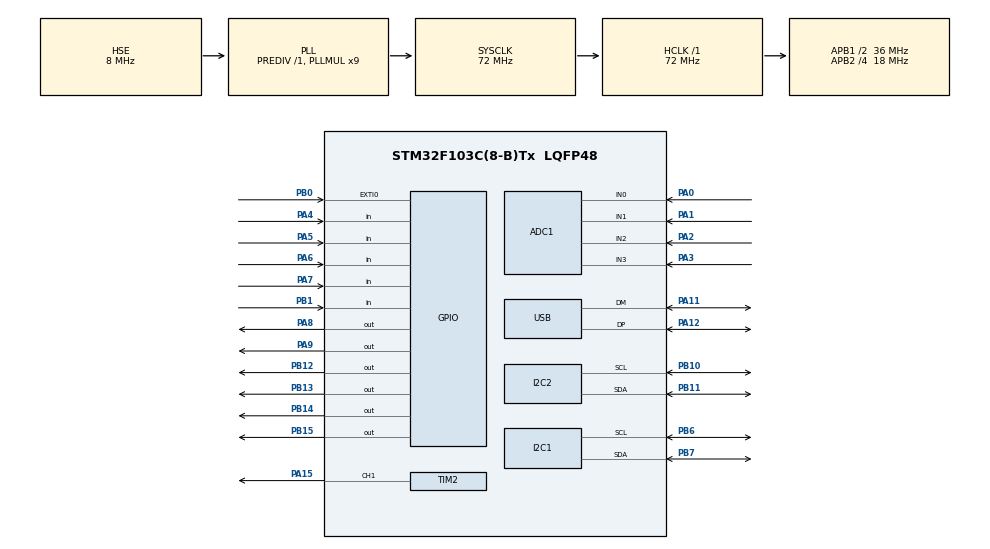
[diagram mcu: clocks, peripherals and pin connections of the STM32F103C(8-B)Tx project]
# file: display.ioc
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ADC1.Channel-0\#ChannelRegularConversion=ADC_CHANNEL_0
ADC1.Channel-1\#ChannelRegularConversion=ADC_CHANNEL_1
ADC1.Channel-2\#ChannelRegularConversion=ADC_CHANNEL_2
ADC1.Channel-3\#ChannelRegularConversion=ADC_CHANNEL_3
ADC1.ContinuousConvMode=ENABLE
ADC1.NbrOfConversion=4
ADC1.NbrOfConversionFlag=1
ADC1.Rank-0\#ChannelRegularConversion=1
ADC1.Rank-1\#ChannelRegularConversion=2
ADC1.Rank-2\#ChannelRegularConversion=3
ADC1.Rank-3\#ChannelRegularConversion=4
ADC1.SamplingTime-0\#ChannelRegularConversion=ADC_SAMPLETIME_239CYCLES_5
ADC1.SamplingTime-1\#ChannelRegularConversion=ADC_SAMPLETIME_239CYCLES_5
ADC1.SamplingTime-2\#ChannelRegularConversion=ADC_SAMPLETIME_239CYCLES_5
ADC1.SamplingTime-3\#ChannelRegularConversion=ADC_SAMPLETIME_239CYCLES_5
ADC1.master=1
Dma.ADC1.0.Direction=DMA_PERIPH_TO_MEMORY
Dma.ADC1.0.Instance=DMA1_Channel1
Dma.ADC1.0.MemDataAlignment=DMA_MDATAALIGN_WORD
Dma.ADC1.0.MemInc=DMA_MINC_ENABLE
Dma.ADC1.0.Mode=DMA_CIRCULAR
Dma.ADC1.0.PeriphDataAlignment=DMA_PDATAALIGN_WORD
Dma.ADC1.0.PeriphInc=DMA_PINC_DISABLE
Dma.ADC1.0.Priority=DMA_PRIORITY_LOW
Dma.Request0=ADC1
I2C1.I2C_Mode=I2C_Fast
Mcu.Family=STM32F1
Mcu.Name=STM32F103C(8-B)Tx
Mcu.Package=LQFP48
NVIC.DMA1_Channel1_IRQn=true\:0\:0\:false\:false\:true\:false\:true
NVIC.EXTI0_IRQn=true\:1\:0\:true\:false\:true\:true\:true
NVIC.I2C1_ER_IRQn=true\:0\:0\:false\:false\:true\:true\:true
NVIC.I2C2_ER_IRQn=true\:0\:0\:false\:false\:true\:true\:true
NVIC.PriorityGroup=NVIC_PRIORITYGROUP_4
NVIC.USB_LP_CAN1_RX0_IRQn=true\:0\:0\:false\:false\:true\:false\:true
PA0-WKUP.Signal=ADCx_IN0
PA1.Signal=ADCx_IN1
PA11.Mode=Device
PA11.Signal=USB_DM
PA12.Mode=Device
PA12.Signal=USB_DP
PA15.Signal=S_TIM2_CH1_ETR
PA2.Signal=ADCx_IN2
PA3.Signal=ADCx_IN3
PA4.GPIO_PuPd=GPIO_PULLUP
PA4.Signal=GPIO_Input
PA5.GPIO_PuPd=GPIO_PULLUP
PA5.Signal=GPIO_Input
PA6.GPIO_PuPd=GPIO_PULLUP
PA6.Signal=GPIO_Input
PA7.GPIO_PuPd=GPIO_PULLUP
PA7.Signal=GPIO_Input
PA8.Signal=GPIO_Output
PA9.Signal=GPIO_Output
PB0.GPIO_ModeDefaultEXTI=GPIO_MODE_IT_FALLING
PB0.GPIO_PuPd=GPIO_PULLUP
PB0.Signal=GPXTI0
PB1.GPIO_PuPd=GPIO_PULLUP
PB1.Signal=GPIO_Input
PB10.Mode=I2C
PB10.Signal=I2C2_SCL
PB11.Mode=I2C
PB11.Signal=I2C2_SDA
PB12.Signal=GPIO_Output
PB13.Signal=GPIO_Output
PB14.Signal=GPIO_Output
PB15.Signal=GPIO_Output
PB6.Mode=I2C
PB6.Signal=I2C1_SCL
PB7.Mode=I2C
PB7.Signal=I2C1_SDA
PD0-OSC_IN.Mode=HSE-External-Oscillator
PD0-OSC_IN.Signal=RCC_OSC_IN
PD1-OSC_OUT.Mode=HSE-External-Oscillator
PD1-OSC_OUT.Signal=RCC_OSC_OUT
ProjectManager.HeapSize=0x200
ProjectManager.StackSize=0x400
ProjectManager.TargetToolchain=STM32CubeIDE
RCC.ADCPresc=RCC_ADCPCLK2_DIV8
RCC.AHBFreq_Value=72000000
RCC.APB1CLKDivider=RCC_HCLK_DIV2
RCC.APB1Freq_Value=36000000
RCC.APB1TimFreq_Value=72000000
RCC.APB2CLKDivider=RCC_HCLK_DIV4
RCC.APB2Freq_Value=18000000
RCC.APB2TimFreq_Value=36000000
RCC.HCLKFreq_Value=72000000
RCC.PLLMUL=RCC_PLL_MUL9
RCC.PLLSourceVirtual=RCC_PLLSOURCE_HSE
RCC.SYSCLKFreq_VALUE=72000000
RCC.SYSCLKSource=RCC_SYSCLKSOURCE_PLLCLK
RCC.USBFreq_Value=48000000
RCC.USBPrescaler=RCC_USBCLKSOURCE_PLL_DIV1_5
SH.ADCx_IN0.0=ADC1_IN0,IN0
SH.ADCx_IN1.0=ADC1_IN1,IN1
SH.ADCx_IN2.0=ADC1_IN2,IN2
SH.ADCx_IN3.0=ADC1_IN3,IN3
SH.S_TIM2_CH1_ETR.0=TIM2_CH1,PWM Generation1 CH1
TIM2.Channel-PWM\ Generation1\ CH1=TIM_CHANNEL_1
TIM2.Period=255
USB_DEVICE.APP_RX_DATA_SIZE=1000
USB_DEVICE.APP_TX_DATA_SIZE=1000
USB_DEVICE.CLASS_NAME_FS=CDC
USB_DEVICE.VirtualMode=Cdc
USB_DEVICE.VirtualModeFS=Cdc_FS
VP_SYS_VS_ND.Mode=No_Debug
VP_USB_DEVICE_VS_USB_DEVICE_CDC_FS.Mode=CDC_FS
board=custom

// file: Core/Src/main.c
/* USER CODE BEGIN Header */
/**
  ******************************************************************************
  * @file           : main.c
  * @brief          : Main program body
  ******************************************************************************
  * @attention
  *
  * Copyright (c) 2021 STMicroelectronics.
  * All rights reserved.
  *
  * This software is licensed under terms that can be found in the LICENSE file
  * in the root directory of this software component.
  * If no LICENSE file comes with this software, it is provided AS-IS.
  *
  ******************************************************************************
  */
/* USER CODE END Header */
#include "main.h"
#include "usb_device.h"

/* USER CODE BEGIN Includes */
#include "ssd1306.h"
#include "fonts.h"
#include <math.h>
#include <string.h>
/* USER CODE END Includes */

ADC_HandleTypeDef hadc1;
DMA_HandleTypeDef hdma_adc1;

I2C_HandleTypeDef hi2c1;
I2C_HandleTypeDef hi2c2;

TIM_HandleTypeDef htim2;

void SystemClock_Config(void);
static void MX_GPIO_Init(void);
static void MX_I2C1_Init(void);
static void MX_I2C2_Init(void);
static void MX_DMA_Init(void);
static void MX_ADC1_Init(void);
static void MX_TIM2_Init(void);

/* USER CODE BEGIN 0 */

float Uzobrazene = 0;
float Izobrazene = 0;
float Mzobrazene = 0;
float teplota = 0;
uint8_t dataDAC [3] = {0x40, 0x0, 0x0};
uint32_t ADCout [4];
float SMAU0 [50];							//SIMPLE MOVING AVERAGE U0
float SMAU1 [50];							//SIMPLE MOVING AVERAGE U1
float SMAU2 [50];							//SIMPLE MOVING AVERAGE U2
uint8_t SMAy = 0;							//SIMPLE MOVING AVERAGE index
uint16_t setmodeflag = 0; 					//mód zobrazení

//polling
uint8_t tlacitko [4];
uint8_t poslednistav [4];
uint8_t debounce [5];

//menu 1
uint8_t cursor = 0;
uint8_t menupage = 0;
float setvoltage = 0;
float setcurrent = 0;
uint8_t pointer_p1 = 0x01;

//USB
uint8_t message[22] = "$0000|0000|C|000|00|E";				//odesílaná zpráva
uint16_t len = sizeof(message)/sizeof(message[0]);			//délka odesílané zprávy
uint8_t buffer_usb[12];										//buffer přijaté zprávy
uint8_t receive;											//příznak přijetí nové zprávy

//servisní veličiny
float Uadc = 3.3;		//vstupní napětí ADC
float offset = 0.0;		//offset ADC
float napetiBUCK[16] = {0, 0, 0.79, 2.40, 3.52, 5.10, 5.90, 8.50, 8.80, 11.30, 12.20, 14.37, 14.97, 16.63, 17.40, 18.71};	//převodní tabulka výstupních napětí BUCK reguátoru
uint8_t dataBUCK[16] = {0, 1, 2, 4, 3, 5, 6, 7, 8, 9, 10, 12, 11, 13, 14, 15};

//chlazení
uint16_t ventilatorper = 0;  //výkon ventilátoru v %
uint8_t ventilatorhyst = 0;	//hystereze ventilatoru
//startovní sekvence
void start()
{
	SSD1306_Clear();
	SSD1306_GotoXY (25,25);
	SSD1306_Puts("zdrojOS", &Font_11x18, 1);
	SSD1306_UpdateScreen();
	HAL_Delay(1000);
	HAL_GPIO_WritePin(GPIOA, GPIO_PIN_8, 0);
	HAL_GPIO_WritePin(GPIOA, GPIO_PIN_9, 1);
}

//USB
uint8_t loopcount = 0;		//loopcount pro odeslání každých 256 cyklů
extern uint8_t CDC_Transmit_FS(uint8_t* Buf, uint16_t Len);	//odkaz na funkci odeslání z "usbd_cdc_if.c"

//funkce rozložení přijatého rámce do globálních proměnných
void read_ser()
{
	char u_char[5];	//string napětí
	for(int i = 0; i<4; i++){
		u_char[i] = buffer_usb[i+1];
	}
	u_char[4] = '\0';
	setvoltage = atoi(u_char);	//převod na číslo
	setvoltage = setvoltage/100;	//vložení do globální proměnné

	char i_char[5]; //string proudu
	for(int i = 0; i<4; i++){
		i_char[i] = buffer_usb[i+6];
	}
	i_char[4] = '\0';
	setcurrent = atoi(i_char);	//převod na číslo
	setcurrent = setcurrent/100;	//vložení do globální proměnné

}

//vytvoření rámce
void create_mess(float v, float c, uint8_t cvcc, uint8_t err, float teplota, uint16_t vent)
{
	//převod float napětí
	v = v*100;
	char vs[5];
	itoa((uint16_t)v, vs, 10);
	if(v<10){
		message[1] = '0';
		message[2] = '0';
		message[3] = '0';
		message[4] = vs[0];
	}else if(v<100){
		for(int i = 0; i<2; i++){
			message[i+3] = vs[i];
		}
		message[2] = '0';
		message[1] = '0';
	}else if(v<1000){
		for(int i = 0; i<3; i++){
			message[i+2] = vs[i];
		}
		message[1] = '0';
	}else{
	for(int i = 1; i<5; i++){
		message[i] = vs[i-1];
	}}

	//převod float proudu
	c = c*100;
	char cs[5];
	itoa((uint16_t)c, cs, 10);
	if(c<10){
		message[6] = '0';
		message[7] = '0';
		message[8] = '0';
		message[9] = cs[0];
	}else if(c<100){
		for(int i = 0; i<2; i++){
			message[i+8] = cs[i];
		}
		message[7] = '0';
		message[6] = '0';
	}else if(c<1000){
		for(int i = 0; i<3; i++){
			message[i+7] = cs[i];
		}
		message[6] = '0';
	}else{
	for(int i = 0; i<4; i++){
		message[i+6] = cs[i];
	}}
	//převod CVCC režimu
	if(cvcc ==1){
		message[11] = 'V';
	}else{
		message[11] = 'C';
	}
	//převod float teploty
	teplota = 1000*teplota;
	char teplotas[4];
	itoa((uint16_t)teplota, teplotas, 10);
	if(teplota>100){
		message[13]=teplotas[0];
		message[14]=teplotas[1];
		message[15]=teplotas[2];
	}else if(teplota>10){
		message[13]='0';
		message[14]=teplotas[0];
		message[15]=teplotas[1];
	}else {
		message[13]='0';
		message[14]='0';
		message[15]=teplotas[0];
	}
	//pokud jede vent na 100% odešle hodnotu 99% (kvůli formátu)
	if(vent == 100)
	{
		message[17] = '9';
		message[18] = '9';
	}else{
		char vents[3];
		itoa(vent, vents, 10);
		if(vent<10){
			message[17] = '0';
			message[18] = vents[0];
		}else{
		message[17] = vents[0];
		message[18] = vents[1];}
	}
	//errror mess 99==no error
	if(err == 99){
		message[20] = 'E';
	}else{
		message[20] = err + '0';
	}
}

//funkce error handleru
/*po zachycení chyby dojde k odpojení výstupního napětí a odeslání rámce s kódem chyby
 ta je zároveň vypsána na display zařízení a zařízení vyčkává na stisknutí potvzení na tlačítku na zařízení*/
void error(uint8_t event)
{
	HAL_GPIO_WritePin(GPIOA, GPIO_PIN_8, 0);
	HAL_GPIO_WritePin(GPIOA, GPIO_PIN_9, 0);
	SSD1306_Clear();
	SSD1306_GotoXY (3,3);
	SSD1306_Puts("error:", &Font_11x18, 1);
	SSD1306_GotoXY (3,25);
	create_mess(Uzobrazene, Izobrazene, Mzobrazene,event, teplota, ventilatorper);
	int pokusy = 0;
	while((CDC_Transmit_FS(message, len) != USBD_OK)&&(pokusy<100)){
		  pokusy++;
	}
	switch (event) {
		case 0:
			SSD1306_Puts("mereni tep.", &Font_11x18, 1);
			SSD1306_GotoXY (3,45);
			SSD1306_Puts("OK=>reset", &Font_11x18, 1);
			SSD1306_UpdateScreen();
			while(HAL_GPIO_ReadPin(GPIOA, GPIO_PIN_4) != 0)
			{
				HAL_Delay(1);
			}
			start();
			break;
		case 1:
			SSD1306_Puts("prehrati", &Font_11x18, 1);
			SSD1306_GotoXY (3,45);
			SSD1306_Puts("OK=>reset", &Font_11x18, 1);
			SSD1306_UpdateScreen();
			while(HAL_GPIO_ReadPin(GPIOA, GPIO_PIN_4) != 0)
			{
				HAL_Delay(1);
			}
			start();
			break;
		case 2:
			SSD1306_Puts("chyba U0", &Font_11x18, 1);
			SSD1306_GotoXY (3,45);
			SSD1306_Puts("OK=>reset", &Font_11x18, 1);
			SSD1306_UpdateScreen();
			while(HAL_GPIO_ReadPin(GPIOA, GPIO_PIN_4) != 0)
			{
				HAL_Delay(1);
			}
			start();
			break;
		case 3:
			SSD1306_Puts("chyba U1", &Font_11x18, 1);
			SSD1306_GotoXY (3,45);
			SSD1306_Puts("OK=>reset", &Font_11x18, 1);
			SSD1306_UpdateScreen();
			while(HAL_GPIO_ReadPin(GPIOA, GPIO_PIN_4) != 0)
			{
				HAL_Delay(1);
			}
			start();
			break;
		case 4:
			SSD1306_Puts("chyba U3", &Font_11x18, 1);
			SSD1306_GotoXY (3,45);
			SSD1306_Puts("OK=>reset", &Font_11x18, 1);
			SSD1306_UpdateScreen();
			while(HAL_GPIO_ReadPin(GPIOA, GPIO_PIN_4) != 0)
			{
				HAL_Delay(1);
			}
			start();
			break;
		default:
			break;

	}
}
//vstupy

void readbuttons()	//pulling tlačítek
{
	if(debounce[0] == 0)
	{
	  tlacitko[0] = HAL_GPIO_ReadPin(GPIOA, GPIO_PIN_4);
	  if(tlacitko[0] != poslednistav[0])
	  {
		  poslednistav[0] = tlacitko[0];
		  if(tlacitko[0] == 0)
		  {
			setmodeflag = 500;
			debounce[0] = 10;
			if(cursor == 0)
			{
				  cursor = 0x04;
			}else{
			  if(cursor>0x08)
			  {
				  cursor = 0;
				  setmodeflag = 10;
			  }
			  if((cursor>0)&&(cursor<0x10))
			  {
				  cursor = (cursor<<4);
			  }
			}
		 }
	  }
	}
	if(debounce[1] == 0)
	{
	  tlacitko[1] = HAL_GPIO_ReadPin(GPIOA, GPIO_PIN_5);
	  if(tlacitko[1] != poslednistav[1])
	  {
		  poslednistav[1] = tlacitko[1];
		  if(tlacitko[1] == 0)
		  {
			  setmodeflag = 500;
			  debounce[1] = 10;
				if(cursor == 0)
				{
					  cursor = 0x04;
				}
				else
				{
					switch (cursor) {
						case 0x80:
							cursor = 0x10;
							break;
						case 0x08:
							cursor = 0x01;
							break;
						default:
							cursor *= 2;
							break;
					}
				}
		  }
	  }
	}
	if(debounce[2] == 0)
	{
	  tlacitko[2] = HAL_GPIO_ReadPin(GPIOA, GPIO_PIN_6);
	  if(tlacitko[2] != poslednistav[2])
	  {
		  poslednistav[2] = tlacitko[2];
		  if(tlacitko[2] == 0)
		  {
			setmodeflag = 500;
			debounce[2] = 10;
			if(cursor == 0)
			{
				  cursor = 0x04;
			}
			else
			{
				switch (cursor) {
					case 0x01:
						cursor = 0x08;
						break;
					case 0x10:
						cursor = 0x80;
						break;
					default:
						cursor = cursor>>1;
						break;
				}

			}
		  }
	  }
	}
	if(debounce[3] == 0)
	{
	  tlacitko[3] = HAL_GPIO_ReadPin(GPIOA, GPIO_PIN_7);
	  if(tlacitko[3] != poslednistav[3])
	  {
		  poslednistav[3] = tlacitko[3];
		  if(tlacitko[3] == 0)
		  {
			  if((setmodeflag > 0)||(menupage>0))
			  {
				  menupage++;
			  }
			  setmodeflag = 500;
			  debounce[3] = 10;
			  if(menupage>2)
			  {
				  menupage = 0;
				  setmodeflag = 10;
			  }
		  }
	  }
	}

}

//pomocné převodní funkce

char* trimm(float f)
{
	static char trimmed [4];

	f *= 100;
	uint16_t g = f;
	itoa(g, trimmed, 10);

	if(g<10)
	{
		trimmed[3] = trimmed[0];
		trimmed[2] = '0';
		trimmed[1] = '0';
		trimmed[0] = ' ';

	}
	if((g<100)&&(g>9))
	{
		trimmed[3] = trimmed[1];
		trimmed[2] = trimmed[0];
		trimmed[1] = '0';
		trimmed[0] = ' ';

	}
	if((g<1000)&&(g>99))
	{
		for(uint8_t i = 3; i>0; i--)
		{
			trimmed[i] = trimmed[i-1];
		}
		trimmed[0] = ' ';

	}

	return trimmed;
}
float ADCtoVoltage(uint16_t ADCvalue)
{
	float voltage = 0;
	if(ADCvalue >= 161)
	{
		voltage = (ADCvalue/1226.9938)+0.0693;
	}
	else
	{
		voltage = ADCvalue;
		voltage = voltage/365;
	}
	return voltage;
}
float Voltagetoteperatur(float napeti)
{
	  napeti = (Uadc/ napeti)-1;
	 napeti = 1/(((log(napeti))/3380)+(1/298.5));
	  napeti = napeti - 273.15; // K => C
	  return napeti;
}

//funkce vykreslování displaje

void drawlogoC (uint8_t x, uint8_t y){
	  SSD1306_DrawLine((5+x), (y+5), (5+x), (y+11), 1);
	  SSD1306_DrawLine((6+x), (y+3), (6+x), (y+13), 1);
	  SSD1306_DrawLine((7+x), (y+3), (7+x), (y+5), 1);
	  SSD1306_DrawLine((7+x), (y+11), (7+x), (y+13), 1);
	  SSD1306_DrawLine((8+x), (y+14), (10+x), (y+14), 1);
	  SSD1306_DrawLine((8+x), (y+13), (10+x), (y+13), 1);
	  SSD1306_DrawLine((8+x), (y+2), (10+x), (y+2), 1);
	  SSD1306_DrawLine((8+x), (y+3), (10+x), (y+3), 1);
	  SSD1306_DrawLine((11+x), (y+3), (11+x), (y+4), 1);
	  SSD1306_DrawLine((11+x), (y+13), (11+x), (y+12), 1);
	  SSD1306_DrawLine((12+x), (y+4), (12+x), (y+6), 1);
	  SSD1306_DrawLine((12+x), (y+12), (12+x), (y+10), 1);
}
void drawmenu1(uint8_t cursorm1, uint8_t cvcc, float x, float y)
{
	  SSD1306_Clear();
	  cursorm1 = ~cursorm1;
	  char* mecha = trimm(y);
	  SSD1306_GotoXY (26,3);
	  SSD1306_Putc (mecha[0], &Font_11x18, ((cursorm1 & 0x08)>>3));
	  SSD1306_GotoXY (37,3);
	  SSD1306_Putc (mecha[1], &Font_11x18, ((cursorm1 & 0x04)>>2));
	  SSD1306_GotoXY (48,3);
	  SSD1306_Putc(',', &Font_11x18, 1);
	  SSD1306_GotoXY (59,3);
	  SSD1306_Putc (mecha[2], &Font_11x18, ((cursorm1 & 0x02)>>1));
	  SSD1306_GotoXY (70,3);
	  SSD1306_Putc (mecha[3], &Font_11x18, (cursorm1 & 0x01));
	  SSD1306_GotoXY (107,3);
	  SSD1306_Putc('V', &Font_11x18, 1);
	  char* proud = trimm(x);
	  SSD1306_GotoXY (26,25);
	  SSD1306_Putc (proud[0], &Font_11x18, ((cursorm1 & 0x80)>>7));
	  SSD1306_GotoXY (37,25);
	  SSD1306_Putc (proud[1], &Font_11x18, ((cursorm1 & 0x40)>>6));
	  SSD1306_GotoXY (48,25);
	  SSD1306_Putc(',', &Font_11x18, 1);
	  SSD1306_GotoXY (59,25);
	  SSD1306_Putc (proud[2], &Font_11x18, ((cursorm1 & 0x20)>>5));
	  SSD1306_GotoXY (70,25);
	  SSD1306_Putc (proud[3], &Font_11x18, ((cursorm1 & 0x10)>>4));
	  SSD1306_GotoXY (107,25);
	  SSD1306_Putc('A', &Font_11x18, 1);
	  uint8_t xcvcc = 0;
	  uint8_t ycvcc = 0;
	  switch (cvcc) {
		case 1:
			  xcvcc = 81;
			  ycvcc = 45;
			  drawlogoC(92, ycvcc);
			  SSD1306_DrawLine((5+xcvcc), (ycvcc+2), (5+xcvcc), (ycvcc+6), 1);
			  SSD1306_DrawLine((13+xcvcc), (ycvcc+2), (13+xcvcc), (ycvcc+6), 1);
			  SSD1306_DrawLine((6+xcvcc), (ycvcc+2), (6+xcvcc), (ycvcc+11), 1);
			  SSD1306_DrawLine((12+xcvcc), (ycvcc+2), (12+xcvcc), (ycvcc+11), 1);
			  SSD1306_DrawLine((7+xcvcc), (ycvcc+6), (7+xcvcc), (ycvcc+13), 1);
			  SSD1306_DrawLine((11+xcvcc), (ycvcc+6), (11+xcvcc), (ycvcc+13), 1);
			  SSD1306_DrawLine((8+xcvcc), (ycvcc+11), (8+xcvcc), (ycvcc+14), 1);
			  SSD1306_DrawLine((10+xcvcc), (ycvcc+11), (10+xcvcc), (ycvcc+14), 1);
			  SSD1306_DrawPixel((9+xcvcc), (ycvcc+13), 1);
			  SSD1306_DrawPixel((9+xcvcc), (ycvcc+14), 1);
			break;
		case 2:
			  xcvcc = 20;
			  ycvcc = 45;
			  drawlogoC(xcvcc, ycvcc);
			  drawlogoC((xcvcc+10), ycvcc);
			break;
		default:
			break;
	}
	  if (cvcc) {
		  	  SSD1306_DrawLine((2+xcvcc), ycvcc , (25+xcvcc), ycvcc, 1);
		  	  SSD1306_DrawLine(xcvcc, (ycvcc+2), xcvcc, (ycvcc+15), 1);
		  	  SSD1306_DrawLine((2+xcvcc), (ycvcc+17), (25+xcvcc), (ycvcc+17), 1);
		  	  SSD1306_DrawLine((27+xcvcc), (ycvcc+2), (27+xcvcc), (ycvcc+15), 1);
		  	  SSD1306_DrawPixel((1+xcvcc), (ycvcc+1), 1);
		  	  SSD1306_DrawPixel((1+xcvcc), (ycvcc+16), 1);
		  	  SSD1306_DrawPixel((26+xcvcc), (ycvcc+1), 1);
		  	  SSD1306_DrawPixel((26+xcvcc), (ycvcc+16), 1);
	  }
	  SSD1306_UpdateScreen(); // update screen
}
void drawmenu2()
{
	uint16_t pz = 0;
	uint16_t temp = teplota;
	char pzc [3];
	char tempc [3];
	char ventc [3];
	itoa(temp, tempc, 10);
	itoa(ventilatorper, ventc, 10);
	pz = Uzobrazene* Izobrazene;
	itoa(pz, pzc, 10);
	SSD1306_Clear();
	SSD1306_GotoXY (10,3);
	SSD1306_Puts("Pz =", &Font_11x18, 1);
	SSD1306_GotoXY (65,3);
	SSD1306_Puts(pzc, &Font_11x18, 1);
	SSD1306_GotoXY (107,3);
	SSD1306_Putc('W', &Font_11x18, 1);
	SSD1306_GotoXY (10,25);
	SSD1306_Puts("tep=", &Font_11x18, 1);
	SSD1306_GotoXY (65,25);
	SSD1306_Puts(tempc, &Font_11x18, 1);
	SSD1306_GotoXY (107,25);
	SSD1306_Putc('C', &Font_11x18, 1);
	SSD1306_GotoXY (10,43);
	SSD1306_Puts("vent=", &Font_11x18, 1);
	SSD1306_GotoXY (65, 43);
	SSD1306_Puts(ventc, &Font_11x18, 1);
	SSD1306_GotoXY (107,43);
	SSD1306_Putc('%', &Font_11x18, 1);
	SSD1306_UpdateScreen(); // update screen

}
void drawmenu3()
{
	char U0c [3];
	char U1c [3];
	char U2c [3];
	itoa(ADCout[0], U0c, 10);
	itoa(ADCout[1], U1c, 10);
	itoa(ADCout[2], U2c, 10);
	SSD1306_Clear();
	SSD1306_GotoXY (10,3);
	SSD1306_Puts("U0 =", &Font_11x18, 1);
	SSD1306_GotoXY (65,3);
	SSD1306_Puts(U0c, &Font_11x18, 1);
	SSD1306_GotoXY (10,25);
	SSD1306_Puts("U1=", &Font_11x18, 1);
	SSD1306_GotoXY (65,25);
	SSD1306_Puts(U1c, &Font_11x18, 1);
	SSD1306_GotoXY (10,43);
	SSD1306_Puts("U2=", &Font_11x18, 1);
	SSD1306_GotoXY (65, 43);
	SSD1306_Puts(U2c, &Font_11x18, 1);
	SSD1306_UpdateScreen(); // update screen

}

// výstupní elektrické veličiny

void ventilator(float temp)  //nastavení úrovně PWM ventilátoru
{
	// kontrola správnosti
	if((teplota > 100)||(teplota < 1))
	{
		error(0);
	}
	if(teplota > 70)
	{
		error(1);
	}

	//hystereze
	if(temp > 30)
	{
		ventilatorhyst = 1;
	}
	if(temp < 28)
	{
		ventilatorhyst = 0;
	}
	//výpočet v %
	if(ventilatorhyst == 1)
	{
		ventilatorper = ((temp - 25) * 2) + 50;
		if(ventilatorper > 100)
		{
			ventilatorper = 100;
		}
	}else
	{
		ventilatorper = 0;
	}
	//nastavení časovače v 8-bit
	TIM2->CCR1 = (ventilatorper*255)/100;
}
void setDAC1 (uint16_t data) // zapíše vpravo zarovnaná 12-bit data do DAC1 na I2C2
{
	dataDAC [1] = (data >> 4);
	dataDAC [2] = (data << 4) & 0xf0;
	HAL_I2C_Master_Transmit(&hi2c1, (0b1100001<<1), dataDAC, 3, 10);
}
void setDAC2 (uint16_t data) // zapíše vpravo zarovnaná 12-bit data do DAC1 na I2C2
{
	dataDAC [1] = (data >> 4);
	dataDAC [2] = (data << 4) & 0xf0;
	HAL_I2C_Master_Transmit(&hi2c2, (0b1100001<<1), dataDAC, 3, 10);
}
void setVout (float napeti)	 //řízení spínaného napěťového regulátoru  + příprava pro ADC
{
	uint16_t output;
	uint8_t i = 1;
	if(napeti>18.71)
	{
		HAL_GPIO_WritePin(GPIOA, GPIO_PIN_8, 1);
		HAL_GPIO_WritePin(GPIOA, GPIO_PIN_9, 0);
	}else{
		HAL_GPIO_WritePin(GPIOA, GPIO_PIN_8, 0);
		HAL_GPIO_WritePin(GPIOA, GPIO_PIN_9, 1);
		while(napetiBUCK[i]<napeti)
		{
			i++;
		}
		HAL_GPIO_WritePin(GPIOB, GPIO_PIN_12, (1&&(dataBUCK[i] & 0x08)));
		HAL_GPIO_WritePin(GPIOB, GPIO_PIN_13, (1&&(dataBUCK[i] & 0x04)));
		HAL_GPIO_WritePin(GPIOB, GPIO_PIN_14, (dataBUCK[i] & 0x02));
		HAL_GPIO_WritePin(GPIOB, GPIO_PIN_15, (dataBUCK[i] & 0x01));
	}
	output = (napeti*512)/Uadc;
	setDAC2(output);
}
void setIout(float proud)
{
	uint16_t output;
	output = (proud*4095)/Uadc;
	setDAC1(output);
}

//vektory přerušení

 void HAL_GPIO_EXTI_Callback(uint16_t GPIO_Pin)  //přerušení krok encoderu
{
	uint8_t direct = HAL_GPIO_ReadPin(GPIOB, GPIO_PIN_1);
	if(GPIO_Pin == GPIO_PIN_0)
	{
		if((setmodeflag > 0)&&(menupage == 0)){
		if(debounce[4] == 0)
		{
		int8_t i = 1;
		setmodeflag = 500;
		if(direct == 1)
		{
			i = -1;
		}
		switch (cursor) {
			case 0x10:
				setcurrent = setcurrent + (0.01 * i);
				break;
			case 0x20:
				setcurrent = setcurrent + (0.1 * i);
				break;
			case 0x40:
				setcurrent = setcurrent + i;
				break;
			case 0x80:
				setcurrent = setcurrent + (10*i);
				break;
			case 0x01:
				setvoltage = setvoltage + (0.01 * i);
				break;
			case 0x02:
				setvoltage = setvoltage + (0.1 * i);
				break;
			case 0x04:
				setvoltage = setvoltage + i;
				break;
			case 0x08:
				setvoltage = setvoltage + (10*i);
				break;
			default:
				break;
		}
		if(setvoltage < 0)
		{
			setvoltage = 0;
		}
		if(setcurrent < 0)
		{
			setcurrent = 0;
		}
		if(setcurrent > 2.8)
		{
			setcurrent = 2.8;
		}
		if(setvoltage > 19)
		{
			setvoltage = 19;
		}
		debounce[4] = 10;
		}
	}
	}
}
/* USER CODE END 0 */

int main(void)
{
  /* USER CODE BEGIN 1 */
	uint8_t refreshflag = 0;
  /* USER CODE END 1 */

  /* MCU Configuration--------------------------------------------------------*/

  /* Reset of all peripherals, Initializes the Flash interface and the Systick. */
  HAL_Init();

  /* Configure the system clock */
  SystemClock_Config();

  /* Initialize all configured peripherals */
  MX_GPIO_Init();
  MX_I2C1_Init();
  MX_I2C2_Init();
  MX_DMA_Init();
  MX_ADC1_Init();
  MX_TIM2_Init();
  MX_USB_DEVICE_Init();
  /* USER CODE BEGIN 2 */
  SSD1306_Init();
  HAL_ADC_Start_DMA(&hadc1, ADCout, 4);
  HAL_TIM_PWM_Start(&htim2, TIM_CHANNEL_1);
  start();
  //úvodní naplnění SMA
  for(uint8_t y; y<50;y++)
  {
	  SMAU0 [y] = ADCtoVoltage(ADCout[0])*8;
	  SMAU1 [y] = ADCtoVoltage(ADCout[1])*8;
	  SMAU2 [y] = ADCtoVoltage(ADCout[2]);
	  HAL_Delay(2);
  }
  /* USER CODE END 2 */

  /* Infinite loop */
  /* USER CODE BEGIN WHILE */
  while (1)
  {
	//Iterace SMA
	  SMAy++;
	  if(SMAy > 49)
	  {
		  SMAy = 0;
	  }
	  float U0 = 0;
	  float U1 = 0;
	  float U2 = 0;
	  SMAU0[SMAy] = ADCtoVoltage(ADCout[0])*8;
	  SMAU1[SMAy] = ADCtoVoltage(ADCout[1])*8;
	  SMAU2[SMAy] = ADCtoVoltage(ADCout[2]);
	  for(uint8_t y = 0; y<50; y++)
	  {
		  U0 = U0 + SMAU0[y];
		  U1 = U1 + SMAU1[y];
		  U2 = U2 + SMAU2[y];

	  }
	  U0 = U0 / 50;
	  U1 = U1 / 50;
	  U2 = U2 / 50;

	  readbuttons();
	  if(setmodeflag>0) //display vstoupí do interaktivního módu
	  {
		  if(setmodeflag == 500)
		  {
			  switch (menupage) {
				case 1:
					drawmenu2();
					setmodeflag = 750;
					break;
				case 2:
					drawmenu3();
					setmodeflag = 750;
					break;
				default:
					drawmenu1(cursor, 0, setcurrent , setvoltage);
					break;
			}
		  }

		  if(setmodeflag > 0)
		  {
			  setmodeflag--;
		  }
		  for(uint8_t i = 0; i<5; i++)
		  {
			  if(debounce[i] > 0)
			  {
				  debounce[i]--;
			  }
		  }
		  if(setmodeflag == 0)
		  {
			 menupage = 0;
			 setVout(setvoltage);
			 setIout(setcurrent);
			 refreshflag = 1;
		  }
		  HAL_Delay(2);
	  }
	  else
	  {
		  // není v setmode
		  uint8_t rezim;
		  if(U1>2)
		  {
			//režim proudového zdroje
			  rezim = 2;

		  }
		  else
		  {
			//režim napěťového zdroje
			  rezim = 1;
			  //pro potřeby debagu USB zakomentováno dolaďování napětí
			  /*if(((setvoltage - (U0-U1)) > 0.05) | ((setvoltage - (U0-U1)) < -0.05))
				{
				  setVout(setvoltage+U1);
				}
			 if(SMAy == 49)
			  {
				  if((setvoltage - (U0-U1)) > 0.1)
				  {
					  setVout((setvoltage+U1)+0.1);
				  }
				  if((setvoltage - (U0-U1)) < -0.1)
				  {
					  setVout((setvoltage+U1)-0.1);
				  }
			  }*/
		  }
		  if(U0>24)
		  {
			//přepětí (chyba měření)
			  error(2);
		  }
		  if(U1>24)
		  {
			//přepětí (chyba měření)
			  error(3);
		  }
		  if(U2>3)
		  {
			//naproud (zkrat nezachycený proudovým regulátorem)
			  error(4);
		  }

		  //podmínky pro překreslení displeje
		  if(((Uzobrazene - (U0-U1))>0.05) | ((Uzobrazene - (U0-U1)) < -0.05))
		  {refreshflag = 1;}
		  if(((Izobrazene - U2)>0.02) | ((Izobrazene - U2) < -0.02))
		  {refreshflag = 1;}
		  if(rezim != Mzobrazene)
		  {refreshflag = 1;}

		  // pokud je příznak změny údajů na display obnoví display
		  if(refreshflag > 0)
		  {
			  Mzobrazene = rezim;
			  Uzobrazene = U0-U1;
			  Izobrazene = U2;
			  drawmenu1(0, Mzobrazene, Izobrazene , Uzobrazene);
			  //sestavení zprávy pro COM a odeslání (max 100 pokusů)
			  create_mess(Uzobrazene, Izobrazene, Mzobrazene,99, teplota, ventilatorper);
			  int pokusy = 0;
			  while((CDC_Transmit_FS(message, len) != USBD_OK)&&(pokusy<100)){
				pokusy++;
			  }
			  refreshflag = 0;
		  }
		  HAL_Delay(1);
	  }
	  teplota = Voltagetoteperatur(ADCtoVoltage(ADCout[3]));
	  ventilator(teplota);
	  if(receive == 1){
		receive = 0;
		read_ser();
		 setVout(setvoltage);
		 setIout(setcurrent);
	  }
	  //sestavení zprávy pro COM a odeslání každých 255 cyklů. Slouží pro  stavy kdy dlouho nedochází ke změně proudu či napětí ale je třeba udržovat údaje o teplotě a chlazení aktuální(max 100 pokusů)
	  loopcount++;
	  if(loopcount==255){
		  create_mess(Uzobrazene, Izobrazene, Mzobrazene,99, teplota, ventilatorper);
		  int pokusy = 0;
		  while((CDC_Transmit_FS(message, len) != USBD_OK)&&(pokusy<100)){
			pokusy++;
		  }
	  }

    /* USER CODE END WHILE */

  }
}

void SystemClock_Config(void)
{
  RCC_OscInitTypeDef RCC_OscInitStruct = {0};
  RCC_ClkInitTypeDef RCC_ClkInitStruct = {0};
  RCC_PeriphCLKInitTypeDef PeriphClkInit = {0};

  /** Initializes the RCC Oscillators according to the specified parameters
  * in the RCC_OscInitTypeDef structure.
  */
  RCC_OscInitStruct.OscillatorType = RCC_OSCILLATORTYPE_HSE;
  RCC_OscInitStruct.HSEState = RCC_HSE_ON;
  RCC_OscInitStruct.HSEPredivValue = RCC_HSE_PREDIV_DIV1;
  RCC_OscInitStruct.HSIState = RCC_HSI_ON;
  RCC_OscInitStruct.PLL.PLLState = RCC_PLL_ON;
  RCC_OscInitStruct.PLL.PLLSource = RCC_PLLSOURCE_HSE;
  RCC_OscInitStruct.PLL.PLLMUL = RCC_PLL_MUL9;
  if (HAL_RCC_OscConfig(&RCC_OscInitStruct) != HAL_OK)
  {
    Error_Handler();
  }
  /** Initializes the CPU, AHB and APB buses clocks
  */
  RCC_ClkInitStruct.ClockType = RCC_CLOCKTYPE_HCLK|RCC_CLOCKTYPE_SYSCLK
                              |RCC_CLOCKTYPE_PCLK1|RCC_CLOCKTYPE_PCLK2;
  RCC_ClkInitStruct.SYSCLKSource = RCC_SYSCLKSOURCE_PLLCLK;
  RCC_ClkInitStruct.AHBCLKDivider = RCC_SYSCLK_DIV1;
  RCC_ClkInitStruct.APB1CLKDivider = RCC_HCLK_DIV2;
  RCC_ClkInitStruct.APB2CLKDivider = RCC_HCLK_DIV4;

  if (HAL_RCC_ClockConfig(&RCC_ClkInitStruct, FLASH_LATENCY_2) != HAL_OK)
  {
    Error_Handler();
  }
  PeriphClkInit.PeriphClockSelection = RCC_PERIPHCLK_ADC|RCC_PERIPHCLK_USB;
  PeriphClkInit.AdcClockSelection = RCC_ADCPCLK2_DIV8;
  PeriphClkInit.UsbClockSelection = RCC_USBCLKSOURCE_PLL_DIV1_5;
  if (HAL_RCCEx_PeriphCLKConfig(&PeriphClkInit) != HAL_OK)
  {
    Error_Handler();
  }
}

static void MX_ADC1_Init(void)
{

  ADC_ChannelConfTypeDef sConfig = {0};

  /** Common config
  */
  hadc1.Instance = ADC1;
  hadc1.Init.ScanConvMode = ADC_SCAN_ENABLE;
  hadc1.Init.ContinuousConvMode = ENABLE;
  hadc1.Init.DiscontinuousConvMode = DISABLE;
  hadc1.Init.ExternalTrigConv = ADC_SOFTWARE_START;
  hadc1.Init.DataAlign = ADC_DATAALIGN_RIGHT;
  hadc1.Init.NbrOfConversion = 4;
  if (HAL_ADC_Init(&hadc1) != HAL_OK)
  {
    Error_Handler();
  }
  /** Configure Regular Channel
  */
  sConfig.Channel = ADC_CHANNEL_0;
  sConfig.Rank = ADC_REGULAR_RANK_1;
  sConfig.SamplingTime = ADC_SAMPLETIME_239CYCLES_5;
  if (HAL_ADC_ConfigChannel(&hadc1, &sConfig) != HAL_OK)
  {
    Error_Handler();
  }
  /** Configure Regular Channel
  */
  sConfig.Channel = ADC_CHANNEL_1;
  sConfig.Rank = ADC_REGULAR_RANK_2;
  if (HAL_ADC_ConfigChannel(&hadc1, &sConfig) != HAL_OK)
  {
    Error_Handler();
  }
  /** Configure Regular Channel
  */
  sConfig.Channel = ADC_CHANNEL_2;
  sConfig.Rank = ADC_REGULAR_RANK_3;
  if (HAL_ADC_ConfigChannel(&hadc1, &sConfig) != HAL_OK)
  {
    Error_Handler();
  }
  /** Configure Regular Channel
  */
  sConfig.Channel = ADC_CHANNEL_3;
  sConfig.Rank = ADC_REGULAR_RANK_4;
  if (HAL_ADC_ConfigChannel(&hadc1, &sConfig) != HAL_OK)
  {
    Error_Handler();
  }

}

static void MX_I2C1_Init(void)
{

  hi2c1.Instance = I2C1;
  hi2c1.Init.ClockSpeed = 400000;
  hi2c1.Init.DutyCycle = I2C_DUTYCYCLE_2;
  hi2c1.Init.OwnAddress1 = 0;
  hi2c1.Init.AddressingMode = I2C_ADDRESSINGMODE_7BIT;
  hi2c1.Init.DualAddressMode = I2C_DUALADDRESS_DISABLE;
  hi2c1.Init.OwnAddress2 = 0;
  hi2c1.Init.GeneralCallMode = I2C_GENERALCALL_DISABLE;
  hi2c1.Init.NoStretchMode = I2C_NOSTRETCH_DISABLE;
  if (HAL_I2C_Init(&hi2c1) != HAL_OK)
  {
    Error_Handler();
  }

}

static void MX_I2C2_Init(void)
{

  hi2c2.Instance = I2C2;
  hi2c2.Init.ClockSpeed = 100000;
  hi2c2.Init.DutyCycle = I2C_DUTYCYCLE_2;
  hi2c2.Init.OwnAddress1 = 0;
  hi2c2.Init.AddressingMode = I2C_ADDRESSINGMODE_7BIT;
  hi2c2.Init.DualAddressMode = I2C_DUALADDRESS_DISABLE;
  hi2c2.Init.OwnAddress2 = 0;
  hi2c2.Init.GeneralCallMode = I2C_GENERALCALL_DISABLE;
  hi2c2.Init.NoStretchMode = I2C_NOSTRETCH_DISABLE;
  if (HAL_I2C_Init(&hi2c2) != HAL_OK)
  {
    Error_Handler();
  }

}

static void MX_TIM2_Init(void)
{

  TIM_MasterConfigTypeDef sMasterConfig = {0};
  TIM_OC_InitTypeDef sConfigOC = {0};

  htim2.Instance = TIM2;
  htim2.Init.Prescaler = 0;
  htim2.Init.CounterMode = TIM_COUNTERMODE_UP;
  htim2.Init.Period = 255;
  htim2.Init.ClockDivision = TIM_CLOCKDIVISION_DIV1;
  htim2.Init.AutoReloadPreload = TIM_AUTORELOAD_PRELOAD_DISABLE;
  if (HAL_TIM_PWM_Init(&htim2) != HAL_OK)
  {
    Error_Handler();
  }
  sMasterConfig.MasterOutputTrigger = TIM_TRGO_RESET;
  sMasterConfig.MasterSlaveMode = TIM_MASTERSLAVEMODE_DISABLE;
  if (HAL_TIMEx_MasterConfigSynchronization(&htim2, &sMasterConfig) != HAL_OK)
  {
    Error_Handler();
  }
  sConfigOC.OCMode = TIM_OCMODE_PWM1;
  sConfigOC.Pulse = 0;
  sConfigOC.OCPolarity = TIM_OCPOLARITY_HIGH;
  sConfigOC.OCFastMode = TIM_OCFAST_DISABLE;
  if (HAL_TIM_PWM_ConfigChannel(&htim2, &sConfigOC, TIM_CHANNEL_1) != HAL_OK)
  {
    Error_Handler();
  }
  HAL_TIM_MspPostInit(&htim2);

}

static void MX_DMA_Init(void)
{

  /* DMA controller clock enable */
  __HAL_RCC_DMA1_CLK_ENABLE();

  /* DMA interrupt init */
  /* DMA1_Channel1_IRQn interrupt configuration */
  HAL_NVIC_SetPriority(DMA1_Channel1_IRQn, 0, 0);
  HAL_NVIC_EnableIRQ(DMA1_Channel1_IRQn);

}

static void MX_GPIO_Init(void)
{
  GPIO_InitTypeDef GPIO_InitStruct = {0};

  /* GPIO Ports Clock Enable */
  __HAL_RCC_GPIOD_CLK_ENABLE();
  __HAL_RCC_GPIOA_CLK_ENABLE();
  __HAL_RCC_GPIOB_CLK_ENABLE();

  /*Configure GPIO pin Output Level */
  HAL_GPIO_WritePin(GPIOB, GPIO_PIN_12|GPIO_PIN_13|GPIO_PIN_14|GPIO_PIN_15, GPIO_PIN_RESET);

  /*Configure GPIO pin Output Level */
  HAL_GPIO_WritePin(GPIOA, GPIO_PIN_8|GPIO_PIN_9, GPIO_PIN_RESET);

  /*Configure GPIO pins : PA4 PA5 PA6 PA7 */
  GPIO_InitStruct.Pin = GPIO_PIN_4|GPIO_PIN_5|GPIO_PIN_6|GPIO_PIN_7;
  GPIO_InitStruct.Mode = GPIO_MODE_INPUT;
  GPIO_InitStruct.Pull = GPIO_PULLUP;
  HAL_GPIO_Init(GPIOA, &GPIO_InitStruct);

  /*Configure GPIO pin : PB0 */
  GPIO_InitStruct.Pin = GPIO_PIN_0;
  GPIO_InitStruct.Mode = GPIO_MODE_IT_FALLING;
  GPIO_InitStruct.Pull = GPIO_PULLUP;
  HAL_GPIO_Init(GPIOB, &GPIO_InitStruct);

  /*Configure GPIO pin : PB1 */
  GPIO_InitStruct.Pin = GPIO_PIN_1;
  GPIO_InitStruct.Mode = GPIO_MODE_INPUT;
  GPIO_InitStruct.Pull = GPIO_PULLUP;
  HAL_GPIO_Init(GPIOB, &GPIO_InitStruct);

  /*Configure GPIO pins : PB12 PB13 PB14 PB15 */
  GPIO_InitStruct.Pin = GPIO_PIN_12|GPIO_PIN_13|GPIO_PIN_14|GPIO_PIN_15;
  GPIO_InitStruct.Mode = GPIO_MODE_OUTPUT_PP;
  GPIO_InitStruct.Pull = GPIO_NOPULL;
  GPIO_InitStruct.Speed = GPIO_SPEED_FREQ_LOW;
  HAL_GPIO_Init(GPIOB, &GPIO_InitStruct);

  /*Configure GPIO pins : PA8 PA9 */
  GPIO_InitStruct.Pin = GPIO_PIN_8|GPIO_PIN_9;
  GPIO_InitStruct.Mode = GPIO_MODE_OUTPUT_PP;
  GPIO_InitStruct.Pull = GPIO_NOPULL;
  GPIO_InitStruct.Speed = GPIO_SPEED_FREQ_LOW;
  HAL_GPIO_Init(GPIOA, &GPIO_InitStruct);

  /* EXTI interrupt init*/
  HAL_NVIC_SetPriority(EXTI0_IRQn, 1, 0);
  HAL_NVIC_EnableIRQ(EXTI0_IRQn);

}

void Error_Handler(void)
{
  __disable_irq();
  while (1)
  {
  }
}
